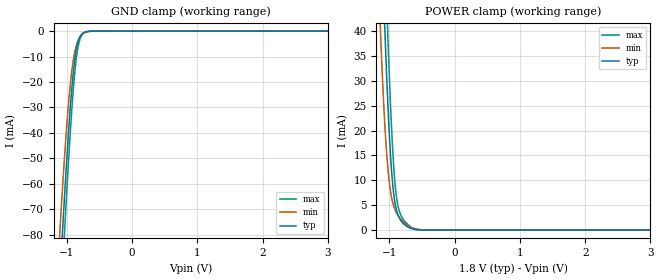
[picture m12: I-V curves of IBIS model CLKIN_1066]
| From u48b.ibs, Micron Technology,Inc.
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|   MODEL CLKIN_1066 (Clock Input Model for 800/1066 Mbps)
[Model]   CLKIN_1066
Model_type   Input
Vinl = 700.000mV
Vinh = 1.10V
|   typ   min   max
C_comp   1.39pF   1.26pF   1.52pF
[Model Spec]
| Input threshold voltage corners
Vinl   0.70V   0.650V   0.750V
Vinh   1.10V   1.05V   1.150V
[Receiver Thresholds]
Vth   =  0.900V
Vth_min  =  0.882V
Vth_max  =  0.918V
Vinh_ac  =  0.200V
Vinh_dc  =  0.125V
Vinl_ac  = -0.200V
Vinl_dc  = -0.125V
Tslew_ac =  5.000ns |Not specified, so set to high value
Threshold_sensitivity = 0.50
Reference_supply Pullup_ref
|NOTE: Differential receiver threshold keywords are commented out because current
|IBISCHK parser (IBISCHK 4.1) generates error for multiple differential models.
|[Receiver Thresholds]
|Vcross_low   = 0.675V
|Vcross_high  = 1.125V
|Vdiff_ac   = 500mV
|Vdiff_dc   = 250mV
|Tdiffslew_ac = 5.000ns |Not specified, so set to high value
[Voltage Range]   1.800V   1.700V   1.900V
[Pullup Reference]   1.800V   1.700V   1.900V
| Junction Temperature (Ambient temp is 25C typ, 85C min, 0C max)
[Temperature Range]   40.0   100.0   0.0
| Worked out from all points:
|   GND clamp passes 1 mA (typ) near -0.77 V on its own axis
|   POWER clamp passes 1 mA (typ) near -0.76 V on its own axis
[GND Clamp]
|   Voltage   I(typ)   I(min)   I(max)
-1.8V     -463.7mA   -430.8mA   -496.5mA
-1.11V    -98.96mA   -79.84mA   -115.8mA
-1.1V     -94.22mA   -75.51mA   -110.8mA
-1.065V   -78mA      -60.88mA   -93.28mA
-1.04V    -66.8mA    -51mA      -81.11mA
-1.025V   -60.29mA   -45.37mA   -73.96mA
-950mV    -30.88mA   -21.59mA   -40.75mA
-910mV    -18.5mA    -12.86mA   -25.76mA
-875mV    -10.47mA   -7.701mA   -15.24mA
-820mV    -3.433mA   -3.212mA   -5.148mA
-740mV    -537.3uA   -799uA     -760.5uA
3.6V      0A         0A         0A
[POWER Clamp]
|   Voltage   I(typ)   I(min)   I(max)
-1.8V     384.3mA    341.7mA    413.9mA
-1.14V    67.48mA    41.14mA    87.05mA
-1.07V    40.51mA    21.24mA    57.05mA
-1.03V    27.34mA    13.46mA    41.4mA
-1.025V   25.86mA    12.69mA    39.56mA
-970mV    12.58mA    6.821mA    21.54mA
-935mV    7.434mA    4.895mA    13.11mA
-900mV    4.471mA    3.7mA      7.608mA
-840mV    2.216mA    2.421mA    3.484mA
-710mV    539.1uA    811.2uA    1.028mA
-470mV    3.39uA     14.57uA    7.341uA
3.6V      0A         0A         0A
